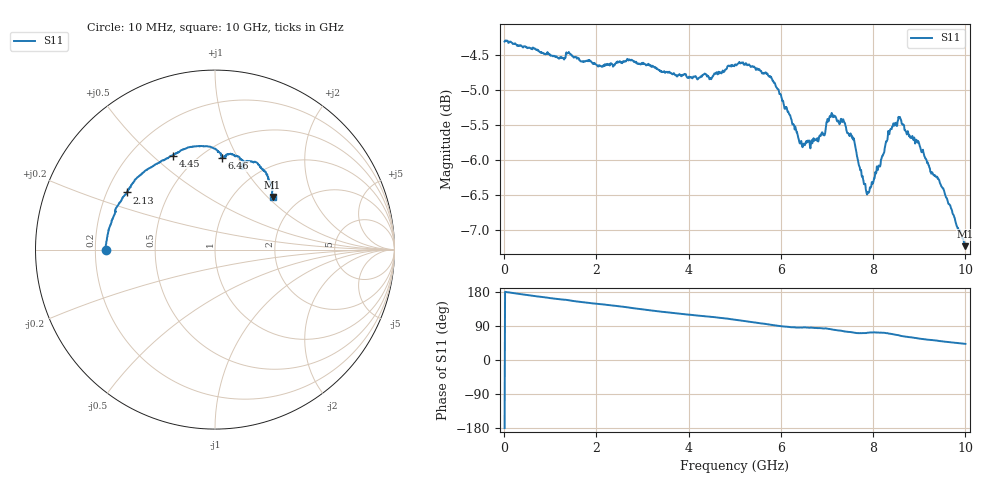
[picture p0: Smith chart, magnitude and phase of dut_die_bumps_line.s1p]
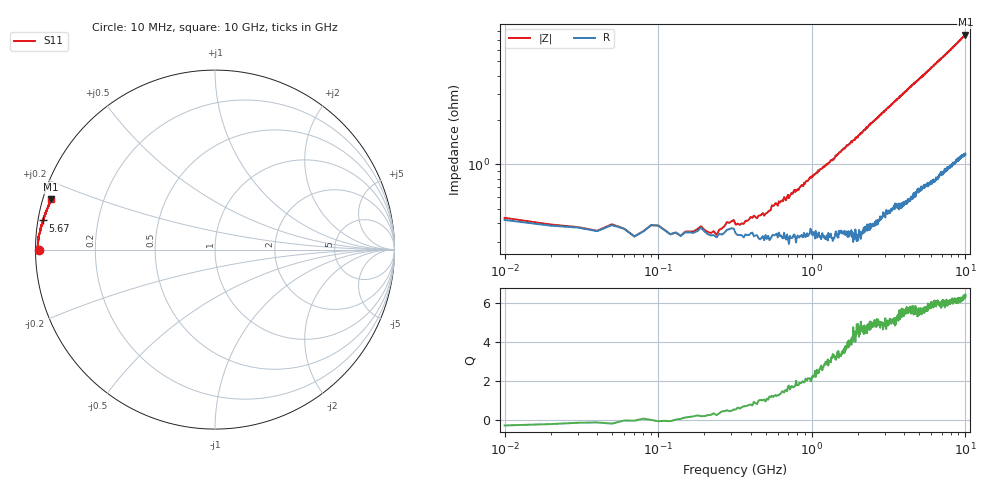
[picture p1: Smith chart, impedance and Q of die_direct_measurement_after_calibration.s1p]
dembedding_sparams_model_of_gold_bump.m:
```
% De-embedding and single-bump extraction
clear; close all; clc;

%% 1) Parameters & files
Z0 = 50;
f  = (10e6:10e6:10e9).';            % Common frequency vector (10 MHz – 10 GHz)

files = { ...
  'open_line.s1p', ...
  'short_line.s1p', ...
  'dut_die_bumps_line.s1p', ...
  'die_direct_measurement_after_calibration.s1p' ...
};
labels_raw = {'Open','Short','DUT','Direct die'};

fs_big = 28;
lw     = 2;

%% 2) Load & interpolate S11
S11 = nan(numel(f), numel(files));

for k = 1:numel(files)
    if ~isfile(files{k})
        error(['Required Touchstone file not found:\n   %s\n\n' ...
               '-> Check the path or remove it from the "files" cell array.'], files{k});
    end

    sp   = sparameters(files{k});
    f_in = sp.Frequencies;
    S_in = squeeze(sp.Parameters(1,1,:));

    S11(:,k) = interp1(f_in, real(S_in), f, 'linear', 'extrap') + ...
               1j*interp1(f_in, imag(S_in), f, 'linear', 'extrap');
end

phase_deg = @(S) unwrap(angle(S)) * 180/pi;
Zf        = @(S) Z0 * (1 + S) ./ (1 - S);

%% 3) Open–short de-embedding
Zoc  = Zf(S11(:,1)); % open
Zsc  = Zf(S11(:,2)); % short
Zm   = Zf(S11(:,3)); % DUT (line + die + bumps)
Zde  = Zoc .* (Zm - Zsc) ./ (Zoc - Zm); % de-embedded Z

%% 4) Extract 3 bumps
Zdie = Zf(S11(:,4)); % direct die
Z3b  = Zde - Zdie; % impedance of three bumps

% Single-bump extraction
Z1b  = (2/3) * Z3b; % assume bumps identical & symmetric

% convert back to S-parameters
StoS = @(Z) (Z - Z0) ./ (Z + Z0);
Sde  = StoS(Zde);
S3b  = StoS(Z3b);
S1b  = StoS(Z1b);

%% 5) Smith Chart
figure(1); clf
set(gcf,'Renderer','painters','Position',[100 100 800 700]);
smithplot(f/1e9, [S11, Sde, S3b, S1b]);
title('Smith Chart: Single Gold Bump Extraction', ...
      'Interpreter','none','FontSize',fs_big,'FontWeight','bold');
legend([labels_raw, {'De-embedded','3 bumps','1 bump'}], ...
       'Location','southwest','FontSize',fs_big,'FontWeight','bold');
set(gca,'FontSize',fs_big,'FontWeight','bold');
xlabel('Frequency (GHz)','FontSize',fs_big,'FontWeight','bold');
grid on; axis equal;

idx = find(f == 10e6);
Zvals     = { Zoc(idx), Zsc(idx), Zm(idx), Zdie(idx), Zde(idx), Z3b(idx), Z1b(idx) };
allLabels = [labels_raw, {'De-embedded','3 bumps','1 bump'}];

txt = '';
for n = 1:numel(Zvals)
    zc  = Zvals{n};
    txt = sprintf('%s%s: %.1f %s j%.1f Ω\n', txt, ...
                  allLabels{n}, real(zc), char(177), imag(zc));
end
annotation('textbox',[0.63 0.12 0.33 0.75], 'String',txt, ...
           'FitBoxToText','on','BackgroundColor','white', ...
           'FontSize',fs_big,'FontWeight','bold');

%% 6a) Magnitude plot
figure(2); clf
set(gcf,'Position',[950 100 800 600]);
plot(f/1e9, 20*log10(abs([S11, Sde, S3b, S1b])), 'LineWidth',lw);
grid on;
xlabel('Frequency (GHz)','FontSize',fs_big,'FontWeight','bold');
ylabel('|S_{11}| (dB)','FontSize',fs_big,'FontWeight','bold');
title('Magnitude Response','FontSize',fs_big,'FontWeight','bold');
legend([labels_raw, {'De-embedded','3 bumps','1 bump'}], ...
       'Location','southwest','FontSize',fs_big,'FontWeight','bold');
set(gca,'FontSize',fs_big,'FontWeight','bold');

%% 6b) Phase plot
figure(3); clf
set(gcf,'Position',[950 750 800 600]);
plot(f/1e9, phase_deg([S11, Sde, S3b, S1b]), 'LineWidth',lw);
grid on;

yl = ylim;
ylim([-800 yl(2)]);

xlabel('Frequency (GHz)','FontSize',fs_big,'FontWeight','bold');
ylabel('Phase (°)','FontSize',fs_big,'FontWeight','bold');
title('Phase Response','FontSize',fs_big,'FontWeight','bold');
legend([labels_raw, {'De-embedded','3 bumps','1 bump'}], ...
       'Location','southwest','FontSize',fs_big,'FontWeight','bold');
set(gca,'FontSize',fs_big,'FontWeight','bold');

%% 7) Export single-bump S-parameters
fname = 'single_bump.s1p';
fid   = fopen(fname,'w');
if fid < 0
    error('Could not open %s for writing.', fname);
end
for ii = 1:numel(f)
    S1 = StoS(Z1b(ii));
    fprintf(fid,'%e %e %e\n', f(ii), real(S1), imag(S1));
end
fclose(fid);
fprintf('Wrote single-bump S-parameter file: %s\n', fname);
```
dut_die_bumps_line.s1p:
!Keysight Technologies,N5247B,MY60213743,A.16.20.04
!Date: Thursday, June 05, 2025 15:18:02
!Correction: S11(C  1-Port  )
!S1P File: Measurement: S11:
# Hz S  RI  R 50
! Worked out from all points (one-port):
!   1000 points, 10 MHz to 10 GHz, reference 50 ohm
!   lowest |S11| = -7.2 dB at 10 GHz (marker M1), VSWR 2.54, Z = 74 + j53.6 ohm
!   |S11| at or under -10 dB: nowhere
!   S11 on the Smith chart (normalised r, x): 10 MHz: 0.24, -0.00; 2.13 GHz: 0.28, +0.27; 4.45 GHz: 0.38, +0.58; 6.46 GHz: 0.62, +0.86; 10 GHz: 1.48, +1.07
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1e7  -0.6092 -0.0026
2.13e9  -0.4902 0.3186
3.34e9  -0.3617 0.4556
4.45e9  -0.2319 0.5234
5.52e9  -0.0775 0.5772
6.46e9  0.0397 0.5109
6.67e9  0.0439 0.516
7.14e9  0.0946 0.5306
7.63e9  0.1647 0.4821
7.89e9  0.147 0.4523
8.21e9  0.1573 0.4796
8.53e9  0.2161 0.4884
9.12e9  0.2917 0.4107
1e10  0.3204 0.294
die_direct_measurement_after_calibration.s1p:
!Keysight Technologies,N5247B,MY60213743,A.16.20.04
!Date: Wednesday, June 04, 2025 17:01:59
!Correction: S11(C  1-Port  )
!S1P File: Measurement: S11:
# Hz S  RI  R 50
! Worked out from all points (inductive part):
!   1000 points, 10 MHz to 10 GHz, reference 50 ohm
!   read as one part to ground: L = 121 pH near 1.23 GHz
!   highest Q = 6.44 at 10 GHz (marker M1), where L = 119 pH
!   S11 on the Smith chart (normalised r, x): 10 MHz: 0.01, -0.00; 5.67 GHz: 0.01, +0.08; 10 GHz: 0.02, +0.15
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1e7  -0.9833 -0.00429
1.2e8  -0.9866 -0.000538
4.9e8  -0.9877 0.013
1.1e9  -0.9861 0.0335
1.99e9  -0.9853 0.0595
2.42e9  -0.9826 0.0737
3.34e9  -0.9754 0.0993
3.86e9  -0.9729 0.1136
4.54e9  -0.9678 0.1334
4.88e9  -0.9631 0.1404
5.67e9  -0.9579 0.1624
6.67e9  -0.9494 0.19
7.95e9  -0.9363 0.2231
1e10  -0.9135 0.2801
